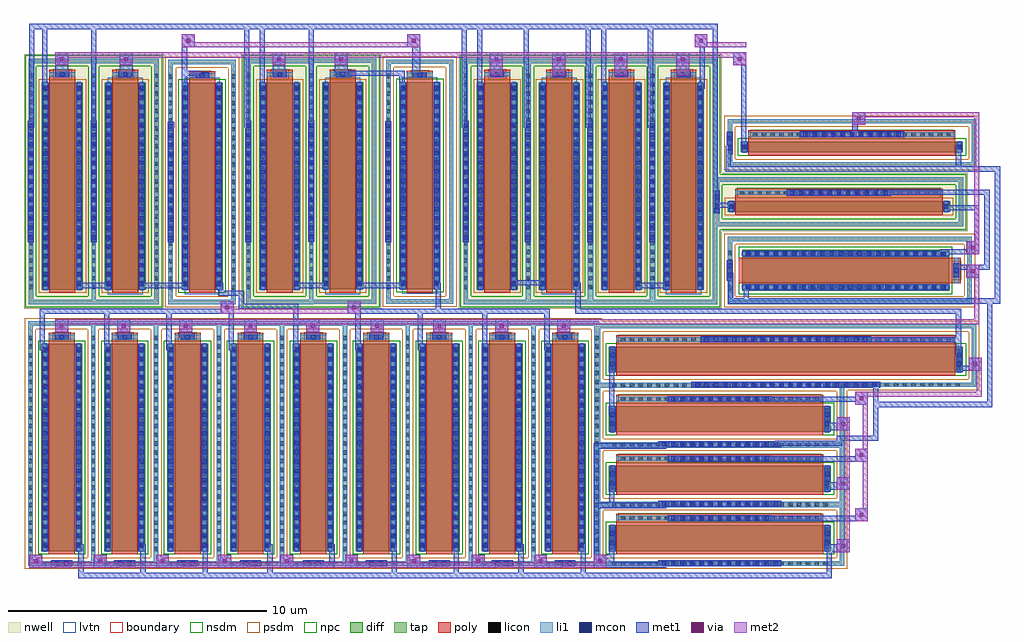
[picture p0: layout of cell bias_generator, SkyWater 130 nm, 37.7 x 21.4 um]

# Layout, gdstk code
from math import pi, radians
import gdstk
lib = gdstk.Library(unit=1e-6, precision=1e-09)
def R(c, l, rs):  # rectangles x0, y0, x1, y1
    for r in rs: c.add(gdstk.rectangle(r[:2], r[2:], *l))
def A(c, l, x, y, w, h, nx, ny, dx, dy):  # array of equal rectangles
    R(c, l, [(x+i*dx, y+j*dy, x+i*dx+w, y+j*dy+h) for i in range(nx) for j in range(ny)])
nwell = (64, 20)
diff = (65, 20)
tap = (65, 44)
poly = (66, 20)
licon = (66, 44)
li1 = (67, 20)
mcon = (67, 44)
met1 = (68, 20)
via = (68, 44)
met2 = (69, 20)
nsdm = (93, 44)
psdm = (94, 20)
npc = (95, 20)
lvtn = (125, 44)
boundary = (235, 4)

sky130_fd_pr__nfet_01v8_ = lib.new_cell('sky130_fd_pr__nfet_01v8_N4YVNS')
R(sky130_fd_pr__nfet_01v8_, diff, [(-4.29,-0.365,4.29,0.055)])
R(sky130_fd_pr__nfet_01v8_, tap, [(-4.8,-0.925,4.8,-0.755), (-4.8,-0.755,-4.63,0.755), (4.63,-0.755,4.8,0.755), (-4.8,0.755,4.8,0.925)])
R(sky130_fd_pr__nfet_01v8_, poly, [(-4,-0.495,4,0.495)])
A(sky130_fd_pr__nfet_01v8_, licon, -4.8, -0.425, 0.17, 0.17, 1, 3, 0, 0.34)
A(sky130_fd_pr__nfet_01v8_, licon, -3.825, 0.245, 0.17, 0.17, 23, 1, 0.34, 0)
R(sky130_fd_pr__nfet_01v8_, licon, [(-4.23,-0.24,-4.06,-0.07), (4.06,-0.24,4.23,-0.07)])
R(sky130_fd_pr__nfet_01v8_, li1, [(-4.8,-0.925,4.8,-0.755), (-4.8,-0.755,-4.63,0.755), (4.63,-0.755,4.8,0.755), (-4.23,-0.385,-4.06,0.075), (4.06,-0.385,4.23,0.075), (-4,0.245,4,0.415), (-4.8,0.755,4.8,0.925)])
A(sky130_fd_pr__nfet_01v8_, mcon, -1.885, 0.245, 0.17, 0.17, 11, 1, 0.36, 0)
R(sky130_fd_pr__nfet_01v8_, mcon, [(-4.8,-0.265,-4.63,-0.095), (-4.23,-0.24,-4.06,-0.07), (4.06,-0.24,4.23,-0.07), (-4.8,0.095,-4.63,0.265)])
R(sky130_fd_pr__nfet_01v8_, met1, [(-4.83,-0.44,-4.6,0.44), (-4.26,-0.365,-4.03,0.055), (4.03,-0.365,4.26,0.055), (-2.02,0.215,2.02,0.445)])
R(sky130_fd_pr__nfet_01v8_, nsdm, [(-4.415,-0.49,4.415,0.18)])
R(sky130_fd_pr__nfet_01v8_, psdm, [(-4.925,-1.05,4.925,-0.63), (-4.925,-0.63,-4.505,0.63), (4.505,-0.63,4.925,0.63), (-4.925,0.63,4.925,1.05)])
R(sky130_fd_pr__nfet_01v8_, npc, [(-3.925,0.145,3.925,0.515)])
R(sky130_fd_pr__nfet_01v8_, boundary, [(-4.715,-0.84,4.715,0.84)])

sky130_fd_pr__pfet_01v8_ = lib.new_cell('sky130_fd_pr__pfet_01v8_GQTHCS')
R(sky130_fd_pr__pfet_01v8_, nwell, [(-4.98,-1.13,4.98,1.13)])
R(sky130_fd_pr__pfet_01v8_, diff, [(-4.29,-0.39,4.29,0.03)])
R(sky130_fd_pr__pfet_01v8_, tap, [(-4.8,-0.95,4.8,-0.78), (-4.8,-0.78,-4.63,0.78), (4.63,-0.78,4.8,0.78), (-4.8,0.78,4.8,0.95)])
R(sky130_fd_pr__pfet_01v8_, poly, [(-4,-0.52,4,0.515)])
A(sky130_fd_pr__pfet_01v8_, licon, -4.8, -0.425, 0.17, 0.17, 1, 3, 0, 0.34)
A(sky130_fd_pr__pfet_01v8_, licon, -3.825, 0.265, 0.17, 0.17, 23, 1, 0.34, 0)
R(sky130_fd_pr__pfet_01v8_, licon, [(-4.23,-0.265,-4.06,-0.095), (4.06,-0.265,4.23,-0.095)])
R(sky130_fd_pr__pfet_01v8_, li1, [(-4.8,-0.95,4.8,-0.78), (-4.8,-0.78,-4.63,0.78), (4.63,-0.78,4.8,0.78), (-4.23,-0.41,-4.06,0.05), (4.06,-0.41,4.23,0.05), (-4,0.265,4,0.435), (-4.8,0.78,4.8,0.95)])
A(sky130_fd_pr__pfet_01v8_, mcon, -1.885, 0.265, 0.17, 0.17, 11, 1, 0.36, 0)
R(sky130_fd_pr__pfet_01v8_, mcon, [(-4.8,-0.265,-4.63,-0.095), (-4.23,-0.265,-4.06,-0.095), (4.06,-0.265,4.23,-0.095), (-4.8,0.095,-4.63,0.265)])
R(sky130_fd_pr__pfet_01v8_, met1, [(-4.83,-0.45,-4.6,0.45), (-4.26,-0.39,-4.03,0.03), (4.03,-0.39,4.26,0.03), (-2.02,0.235,2.02,0.465)])
R(sky130_fd_pr__pfet_01v8_, nsdm, [(-4.925,-1.075,4.925,-0.655), (-4.925,-0.655,-4.505,0.655), (4.505,-0.655,4.925,0.655), (-4.925,0.655,4.925,1.075)])
R(sky130_fd_pr__pfet_01v8_, psdm, [(-4.415,-0.515,4.415,0.155)])
R(sky130_fd_pr__pfet_01v8_, npc, [(-3.925,0.165,3.925,0.535)])
R(sky130_fd_pr__pfet_01v8_, boundary, [(-4.715,-0.865,4.715,0.865)])

c_sky130_fd_pr__pfet_01v8_ = lib.new_cell('sky130_fd_pr__pfet_01v8_lvt_LBMMZQ')
R(c_sky130_fd_pr__pfet_01v8_, nwell, [(-1.48,-4.92,1.48,4.92)])
R(c_sky130_fd_pr__pfet_01v8_, diff, [(-0.79,-4.18,0.79,3.82)])
R(c_sky130_fd_pr__pfet_01v8_, tap, [(-1.3,-4.74,1.3,-4.57), (-1.3,-4.57,-1.13,4.57), (1.13,-4.57,1.3,4.57), (-1.3,4.57,1.3,4.74)])
R(c_sky130_fd_pr__pfet_01v8_, poly, [(-0.5,-4.31,0.5,4.305)])
A(c_sky130_fd_pr__pfet_01v8_, licon, -1.3, -4.165, 0.17, 0.17, 1, 25, 0, 0.34)
A(c_sky130_fd_pr__pfet_01v8_, licon, -0.73, -4.005, 0.17, 0.17, 1, 23, 0, 0.34)
A(c_sky130_fd_pr__pfet_01v8_, licon, 0.56, -4.005, 0.17, 0.17, 1, 23, 0, 0.34)
R(c_sky130_fd_pr__pfet_01v8_, licon, [(-0.255,4.055,-0.085,4.225), (0.085,4.055,0.255,4.225)])
R(c_sky130_fd_pr__pfet_01v8_, li1, [(-1.3,-4.74,1.3,-4.57), (-1.3,-4.57,-1.13,4.57), (1.13,-4.57,1.3,4.57), (-0.73,-4.2,-0.56,3.84), (0.56,-4.2,0.73,3.84), (-0.5,4.055,0.5,4.225), (-1.3,4.57,1.3,4.74)])
A(c_sky130_fd_pr__pfet_01v8_, mcon, -0.73, -4.045, 0.17, 0.17, 1, 22, 0, 0.36)
A(c_sky130_fd_pr__pfet_01v8_, mcon, 0.56, -4.045, 0.17, 0.17, 1, 22, 0, 0.36)
A(c_sky130_fd_pr__pfet_01v8_, mcon, -1.3, -2.245, 0.17, 0.17, 1, 13, 0, 0.36)
R(c_sky130_fd_pr__pfet_01v8_, mcon, [(-0.085,4.055,0.085,4.225)])
R(c_sky130_fd_pr__pfet_01v8_, met1, [(-0.76,-4.18,-0.53,3.82), (0.53,-4.18,0.76,3.82), (-1.33,-2.345,-1.1,2.345), (-0.27,4.025,0.27,4.255)])
R(c_sky130_fd_pr__pfet_01v8_, nsdm, [(-1.425,-4.865,1.425,-4.445), (-1.425,-4.445,-1.005,4.445), (1.005,-4.445,1.425,4.445), (-1.425,4.445,1.425,4.865)])
R(c_sky130_fd_pr__pfet_01v8_, psdm, [(-0.915,-4.305,0.915,3.945)])
R(c_sky130_fd_pr__pfet_01v8_, npc, [(-0.355,3.955,0.355,4.325)])
R(c_sky130_fd_pr__pfet_01v8_, lvtn, [(-0.68,-4.36,0.68,4)])
R(c_sky130_fd_pr__pfet_01v8_, boundary, [(-1.215,-4.655,1.215,4.655)])

c_sky130_fd_pr__pfet_01v8__ = lib.new_cell('sky130_fd_pr__pfet_01v8_lvt_LHEPZQ')
R(c_sky130_fd_pr__pfet_01v8__, nwell, [(-1.48,-4.92,1.48,4.92)])
R(c_sky130_fd_pr__pfet_01v8__, diff, [(-0.79,-4.18,0.79,3.82)])
R(c_sky130_fd_pr__pfet_01v8__, tap, [(-1.3,-4.74,1.3,-4.57), (-1.3,-4.57,-1.13,4.57), (1.13,-4.57,1.3,4.57), (-1.3,4.57,1.3,4.74)])
R(c_sky130_fd_pr__pfet_01v8__, poly, [(-0.5,-4.31,0.5,4.305)])
A(c_sky130_fd_pr__pfet_01v8__, licon, -1.3, -4.165, 0.17, 0.17, 1, 25, 0, 0.34)
A(c_sky130_fd_pr__pfet_01v8__, licon, 1.13, -4.165, 0.17, 0.17, 1, 25, 0, 0.34)
A(c_sky130_fd_pr__pfet_01v8__, licon, -0.73, -4.005, 0.17, 0.17, 1, 23, 0, 0.34)
A(c_sky130_fd_pr__pfet_01v8__, licon, 0.56, -4.005, 0.17, 0.17, 1, 23, 0, 0.34)
R(c_sky130_fd_pr__pfet_01v8__, licon, [(-0.255,4.055,-0.085,4.225), (0.085,4.055,0.255,4.225)])
R(c_sky130_fd_pr__pfet_01v8__, li1, [(-1.3,-4.74,1.3,-4.57), (-1.3,-4.57,-1.13,4.57), (1.13,-4.57,1.3,4.57), (-0.73,-4.2,-0.56,3.84), (0.56,-4.2,0.73,3.84), (-0.5,4.055,0.5,4.225), (-1.3,4.57,1.3,4.74)])
A(c_sky130_fd_pr__pfet_01v8__, mcon, -0.73, -4.045, 0.17, 0.17, 1, 22, 0, 0.36)
A(c_sky130_fd_pr__pfet_01v8__, mcon, 0.56, -4.045, 0.17, 0.17, 1, 22, 0, 0.36)
A(c_sky130_fd_pr__pfet_01v8__, mcon, -1.3, -2.245, 0.17, 0.17, 1, 13, 0, 0.36)
R(c_sky130_fd_pr__pfet_01v8__, mcon, [(-0.085,4.055,0.085,4.225)])
R(c_sky130_fd_pr__pfet_01v8__, met1, [(-0.76,-4.18,-0.53,3.82), (0.53,-4.18,0.76,3.82), (-1.33,-2.345,-1.1,2.345), (-0.27,4.025,0.27,4.255)])
R(c_sky130_fd_pr__pfet_01v8__, nsdm, [(-1.425,-4.865,1.425,-4.445), (-1.425,-4.445,-1.005,4.445), (1.005,-4.445,1.425,4.445), (-1.425,4.445,1.425,4.865)])
R(c_sky130_fd_pr__pfet_01v8__, psdm, [(-0.915,-4.305,0.915,3.945)])
R(c_sky130_fd_pr__pfet_01v8__, npc, [(-0.355,3.955,0.355,4.325)])
R(c_sky130_fd_pr__pfet_01v8__, lvtn, [(-0.68,-4.36,0.68,4)])
R(c_sky130_fd_pr__pfet_01v8__, boundary, [(-1.215,-4.655,1.215,4.655)])

c_sky130_fd_pr__nfet_01v8_ = lib.new_cell('sky130_fd_pr__nfet_01v8_lvt_X6KF3T')
R(c_sky130_fd_pr__nfet_01v8_, diff, [(-0.79,-4.155,0.79,3.845)])
R(c_sky130_fd_pr__nfet_01v8_, tap, [(-1.3,-4.715,1.3,-4.545), (-1.3,-4.545,-1.13,4.545), (1.13,-4.545,1.3,4.545), (-1.3,4.545,1.3,4.715)])
R(c_sky130_fd_pr__nfet_01v8_, poly, [(-0.5,-4.285,0.5,4.285)])
A(c_sky130_fd_pr__nfet_01v8_, licon, -1.3, -4.165, 0.17, 0.17, 1, 25, 0, 0.34)
A(c_sky130_fd_pr__nfet_01v8_, licon, -0.73, -3.98, 0.17, 0.17, 1, 23, 0, 0.34)
A(c_sky130_fd_pr__nfet_01v8_, licon, 0.56, -3.98, 0.17, 0.17, 1, 23, 0, 0.34)
R(c_sky130_fd_pr__nfet_01v8_, licon, [(-0.255,4.035,-0.085,4.205), (0.085,4.035,0.255,4.205)])
R(c_sky130_fd_pr__nfet_01v8_, li1, [(-1.3,-4.715,1.3,-4.545), (-1.3,-4.545,-1.13,4.545), (1.13,-4.545,1.3,4.545), (-0.73,-4.175,-0.56,3.865), (0.56,-4.175,0.73,3.865), (-0.5,4.035,0.5,4.205), (-1.3,4.545,1.3,4.715)])
A(c_sky130_fd_pr__nfet_01v8_, mcon, -0.73, -4.02, 0.17, 0.17, 1, 22, 0, 0.36)
A(c_sky130_fd_pr__nfet_01v8_, mcon, 0.56, -4.02, 0.17, 0.17, 1, 22, 0, 0.36)
A(c_sky130_fd_pr__nfet_01v8_, mcon, -1.3, -2.245, 0.17, 0.17, 1, 13, 0, 0.36)
R(c_sky130_fd_pr__nfet_01v8_, mcon, [(-0.085,4.035,0.085,4.205)])
R(c_sky130_fd_pr__nfet_01v8_, met1, [(-0.76,-4.155,-0.53,3.845), (0.53,-4.155,0.76,3.845), (-1.33,-2.335,-1.1,2.335), (-0.27,4.005,0.27,4.235)])
R(c_sky130_fd_pr__nfet_01v8_, nsdm, [(-0.915,-4.28,0.915,3.97)])
R(c_sky130_fd_pr__nfet_01v8_, psdm, [(-1.425,-4.84,1.425,-4.42), (-1.425,-4.42,-1.005,4.42), (1.005,-4.42,1.425,4.42), (-1.425,4.42,1.425,4.84)])
R(c_sky130_fd_pr__nfet_01v8_, npc, [(-0.355,3.935,0.355,4.305)])
R(c_sky130_fd_pr__nfet_01v8_, lvtn, [(-0.68,-4.335,0.68,4.025)])
R(c_sky130_fd_pr__nfet_01v8_, boundary, [(-1.215,-4.63,1.215,4.63)])

c_sky130_fd_pr__nfet_01v8__ = lib.new_cell('sky130_fd_pr__nfet_01v8_lvt_XLZA2Q')
R(c_sky130_fd_pr__nfet_01v8__, diff, [(-0.79,-4.155,0.79,3.845)])
R(c_sky130_fd_pr__nfet_01v8__, tap, [(-1.3,-4.715,1.3,-4.545), (-1.3,-4.545,-1.13,4.545), (1.13,-4.545,1.3,4.545), (-1.3,4.545,1.3,4.715)])
R(c_sky130_fd_pr__nfet_01v8__, poly, [(-0.5,-4.285,0.5,4.285)])
A(c_sky130_fd_pr__nfet_01v8__, licon, -1.3, -4.165, 0.17, 0.17, 1, 25, 0, 0.34)
A(c_sky130_fd_pr__nfet_01v8__, licon, 1.13, -4.165, 0.17, 0.17, 1, 25, 0, 0.34)
A(c_sky130_fd_pr__nfet_01v8__, licon, -0.73, -3.98, 0.17, 0.17, 1, 23, 0, 0.34)
A(c_sky130_fd_pr__nfet_01v8__, licon, 0.56, -3.98, 0.17, 0.17, 1, 23, 0, 0.34)
R(c_sky130_fd_pr__nfet_01v8__, licon, [(-0.255,4.035,-0.085,4.205), (0.085,4.035,0.255,4.205)])
R(c_sky130_fd_pr__nfet_01v8__, li1, [(-1.3,-4.715,1.3,-4.545), (-1.3,-4.545,-1.13,4.545), (1.13,-4.545,1.3,4.545), (-0.73,-4.175,-0.56,3.865), (0.56,-4.175,0.73,3.865), (-0.5,4.035,0.5,4.205), (-1.3,4.545,1.3,4.715)])
A(c_sky130_fd_pr__nfet_01v8__, mcon, -0.73, -4.02, 0.17, 0.17, 1, 22, 0, 0.36)
A(c_sky130_fd_pr__nfet_01v8__, mcon, 0.56, -4.02, 0.17, 0.17, 1, 22, 0, 0.36)
A(c_sky130_fd_pr__nfet_01v8__, mcon, -1.3, -2.245, 0.17, 0.17, 1, 13, 0, 0.36)
R(c_sky130_fd_pr__nfet_01v8__, mcon, [(-0.085,4.035,0.085,4.205)])
R(c_sky130_fd_pr__nfet_01v8__, met1, [(-0.76,-4.155,-0.53,3.845), (0.53,-4.155,0.76,3.845), (-1.33,-2.335,-1.1,2.335), (-0.27,4.005,0.27,4.235)])
R(c_sky130_fd_pr__nfet_01v8__, nsdm, [(-0.915,-4.28,0.915,3.97)])
R(c_sky130_fd_pr__nfet_01v8__, psdm, [(-1.425,-4.84,1.425,-4.42), (-1.425,-4.42,-1.005,4.42), (1.005,-4.42,1.425,4.42), (-1.425,4.42,1.425,4.84)])
R(c_sky130_fd_pr__nfet_01v8__, npc, [(-0.355,3.935,0.355,4.305)])
R(c_sky130_fd_pr__nfet_01v8__, lvtn, [(-0.68,-4.335,0.68,4.025)])
R(c_sky130_fd_pr__nfet_01v8__, boundary, [(-1.215,-4.63,1.215,4.63)])

c_sky130_fd_pr__nfet_01v8___ = lib.new_cell('sky130_fd_pr__nfet_01v8_EE6UX6')
R(c_sky130_fd_pr__nfet_01v8___, diff, [(-4.29,-0.655,4.29,0.345)])
R(c_sky130_fd_pr__nfet_01v8___, tap, [(-4.8,-1.215,4.8,-1.045), (-4.8,-1.045,-4.63,1.045), (4.63,-1.045,4.8,1.045), (-4.8,1.045,4.8,1.215)])
R(c_sky130_fd_pr__nfet_01v8___, poly, [(-4,-0.785,4,0.785)])
A(c_sky130_fd_pr__nfet_01v8___, licon, -4.165, -1.215, 0.17, 0.17, 25, 1, 0.34, 0)
A(c_sky130_fd_pr__nfet_01v8___, licon, -4.23, -0.58, 0.17, 0.17, 1, 3, 0, 0.34)
A(c_sky130_fd_pr__nfet_01v8___, licon, 4.06, -0.58, 0.17, 0.17, 1, 3, 0, 0.34)
A(c_sky130_fd_pr__nfet_01v8___, licon, -3.825, 0.535, 0.17, 0.17, 23, 1, 0.34, 0)
R(c_sky130_fd_pr__nfet_01v8___, li1, [(-4.8,-1.215,4.8,-1.045), (-4.8,-1.045,-4.63,1.045), (4.63,-1.045,4.8,1.045), (-4.23,-0.675,-4.06,0.365), (4.06,-0.675,4.23,0.365), (-4,0.535,4,0.705), (-4.8,1.045,4.8,1.215)])
A(c_sky130_fd_pr__nfet_01v8___, mcon, -2.245, -1.215, 0.17, 0.17, 13, 1, 0.36, 0)
A(c_sky130_fd_pr__nfet_01v8___, mcon, -1.885, 0.535, 0.17, 0.17, 11, 1, 0.36, 0)
R(c_sky130_fd_pr__nfet_01v8___, mcon, [(-4.23,-0.42,-4.06,-0.25), (4.06,-0.42,4.23,-0.25), (-4.23,-0.06,-4.06,0.11), (4.06,-0.06,4.23,0.11)])
R(c_sky130_fd_pr__nfet_01v8___, met1, [(-2.375,-1.245,2.375,-1.015), (-4.26,-0.655,-4.03,0.345), (4.03,-0.655,4.26,0.345), (-2.02,0.505,2.02,0.735)])
R(c_sky130_fd_pr__nfet_01v8___, nsdm, [(-4.415,-0.78,4.415,0.47)])
R(c_sky130_fd_pr__nfet_01v8___, psdm, [(-4.925,-1.34,4.925,-0.92), (-4.925,-0.92,-4.505,0.92), (4.505,-0.92,4.925,0.92), (-4.925,0.92,4.925,1.34)])
R(c_sky130_fd_pr__nfet_01v8___, npc, [(-3.925,0.435,3.925,0.805)])
R(c_sky130_fd_pr__nfet_01v8___, boundary, [(-4.715,-1.13,4.715,1.13)])

c_sky130_fd_pr__nfet_01v8____ = lib.new_cell('sky130_fd_pr__nfet_01v8_798YF4')
R(c_sky130_fd_pr__nfet_01v8____, diff, [(-6.84,-0.655,6.84,0.345)])
R(c_sky130_fd_pr__nfet_01v8____, tap, [(-7.35,-1.215,7.35,-1.045), (-7.35,-1.045,-7.18,1.045), (7.18,-1.045,7.35,1.045), (-7.35,1.045,7.35,1.215)])
R(c_sky130_fd_pr__nfet_01v8____, poly, [(-6.55,-0.785,6.55,0.785)])
A(c_sky130_fd_pr__nfet_01v8____, licon, -6.715, -1.215, 0.17, 0.17, 40, 1, 0.34, 0)
A(c_sky130_fd_pr__nfet_01v8____, licon, -6.78, -0.58, 0.17, 0.17, 1, 3, 0, 0.34)
A(c_sky130_fd_pr__nfet_01v8____, licon, 6.61, -0.58, 0.17, 0.17, 1, 3, 0, 0.34)
A(c_sky130_fd_pr__nfet_01v8____, licon, -6.375, 0.535, 0.17, 0.17, 38, 1, 0.34, 0)
R(c_sky130_fd_pr__nfet_01v8____, li1, [(-7.35,-1.215,7.35,-1.045), (-7.35,-1.045,-7.18,1.045), (7.18,-1.045,7.35,1.045), (-6.78,-0.675,-6.61,0.365), (6.61,-0.675,6.78,0.365), (-6.55,0.535,6.55,0.705), (-7.35,1.045,7.35,1.215)])
A(c_sky130_fd_pr__nfet_01v8____, mcon, -3.505, -1.215, 0.17, 0.17, 20, 1, 0.36, 0)
A(c_sky130_fd_pr__nfet_01v8____, mcon, -3.145, 0.535, 0.17, 0.17, 18, 1, 0.36, 0)
R(c_sky130_fd_pr__nfet_01v8____, mcon, [(-6.78,-0.42,-6.61,-0.25), (6.61,-0.42,6.78,-0.25), (-6.78,-0.06,-6.61,0.11), (6.61,-0.06,6.78,0.11)])
R(c_sky130_fd_pr__nfet_01v8____, met1, [(-3.65,-1.245,3.65,-1.015), (-6.81,-0.655,-6.58,0.345), (6.58,-0.655,6.81,0.345), (-3.295,0.505,3.295,0.735)])
R(c_sky130_fd_pr__nfet_01v8____, nsdm, [(-6.965,-0.78,6.965,0.47)])
R(c_sky130_fd_pr__nfet_01v8____, psdm, [(-7.475,-1.34,7.475,-0.92), (-7.475,-0.92,-7.055,0.92), (7.055,-0.92,7.475,0.92), (-7.475,0.92,7.475,1.34)])
R(c_sky130_fd_pr__nfet_01v8____, npc, [(-6.475,0.435,6.475,0.805)])
R(c_sky130_fd_pr__nfet_01v8____, boundary, [(-7.265,-1.13,7.265,1.13)])

c_sky130_fd_pr__pfet_01v8___ = lib.new_cell('sky130_fd_pr__pfet_01v8_L7EPZQ')
R(c_sky130_fd_pr__pfet_01v8___, nwell, [(-1.48,-4.92,1.48,4.92)])
R(c_sky130_fd_pr__pfet_01v8___, diff, [(-0.79,-4.18,0.79,3.82)])
R(c_sky130_fd_pr__pfet_01v8___, tap, [(-1.3,-4.74,1.3,-4.57), (-1.3,-4.57,-1.13,4.57), (1.13,-4.57,1.3,4.57), (-1.3,4.57,1.3,4.74)])
R(c_sky130_fd_pr__pfet_01v8___, poly, [(-0.5,-4.31,0.5,4.305)])
A(c_sky130_fd_pr__pfet_01v8___, licon, -1.3, -4.165, 0.17, 0.17, 1, 25, 0, 0.34)
A(c_sky130_fd_pr__pfet_01v8___, licon, -0.73, -4.005, 0.17, 0.17, 1, 23, 0, 0.34)
A(c_sky130_fd_pr__pfet_01v8___, licon, 0.56, -4.005, 0.17, 0.17, 1, 23, 0, 0.34)
R(c_sky130_fd_pr__pfet_01v8___, licon, [(-0.255,4.055,-0.085,4.225), (0.085,4.055,0.255,4.225)])
R(c_sky130_fd_pr__pfet_01v8___, li1, [(-1.3,-4.74,1.3,-4.57), (-1.3,-4.57,-1.13,4.57), (1.13,-4.57,1.3,4.57), (-0.73,-4.2,-0.56,3.84), (0.56,-4.2,0.73,3.84), (-0.5,4.055,0.5,4.225), (-1.3,4.57,1.3,4.74)])
A(c_sky130_fd_pr__pfet_01v8___, mcon, -0.73, -4.045, 0.17, 0.17, 1, 22, 0, 0.36)
A(c_sky130_fd_pr__pfet_01v8___, mcon, 0.56, -4.045, 0.17, 0.17, 1, 22, 0, 0.36)
A(c_sky130_fd_pr__pfet_01v8___, mcon, -1.3, -2.245, 0.17, 0.17, 1, 13, 0, 0.36)
R(c_sky130_fd_pr__pfet_01v8___, mcon, [(-0.085,4.055,0.085,4.225)])
R(c_sky130_fd_pr__pfet_01v8___, met1, [(-0.76,-4.18,-0.53,3.82), (0.53,-4.18,0.76,3.82), (-1.33,-2.345,-1.1,2.345), (-0.27,4.025,0.27,4.255)])
R(c_sky130_fd_pr__pfet_01v8___, nsdm, [(-1.425,-4.865,1.425,-4.445), (-1.425,-4.445,-1.005,4.445), (1.005,-4.445,1.425,4.445), (-1.425,4.445,1.425,4.865)])
R(c_sky130_fd_pr__pfet_01v8___, psdm, [(-0.915,-4.305,0.915,3.945)])
R(c_sky130_fd_pr__pfet_01v8___, npc, [(-0.355,3.955,0.355,4.325)])
R(c_sky130_fd_pr__pfet_01v8___, boundary, [(-1.215,-4.655,1.215,4.655)])

c_sky130_fd_pr__pfet_01v8____ = lib.new_cell('sky130_fd_pr__pfet_01v8_BMAEVH')
R(c_sky130_fd_pr__pfet_01v8____, nwell, [(-1.48,-4.92,1.48,4.92)])
R(c_sky130_fd_pr__pfet_01v8____, diff, [(-0.79,-4.18,0.79,3.82)])
R(c_sky130_fd_pr__pfet_01v8____, tap, [(-1.3,-4.74,1.3,-4.57), (-1.3,-4.57,-1.13,4.57), (1.13,-4.57,1.3,4.57), (-1.3,4.57,1.3,4.74)])
R(c_sky130_fd_pr__pfet_01v8____, poly, [(-0.5,-4.31,0.5,4.305)])
A(c_sky130_fd_pr__pfet_01v8____, licon, -1.3, -4.165, 0.17, 0.17, 1, 25, 0, 0.34)
A(c_sky130_fd_pr__pfet_01v8____, licon, 1.13, -4.165, 0.17, 0.17, 1, 25, 0, 0.34)
A(c_sky130_fd_pr__pfet_01v8____, licon, -0.73, -4.005, 0.17, 0.17, 1, 23, 0, 0.34)
A(c_sky130_fd_pr__pfet_01v8____, licon, 0.56, -4.005, 0.17, 0.17, 1, 23, 0, 0.34)
R(c_sky130_fd_pr__pfet_01v8____, licon, [(-0.255,4.055,-0.085,4.225), (0.085,4.055,0.255,4.225)])
R(c_sky130_fd_pr__pfet_01v8____, li1, [(-1.3,-4.74,1.3,-4.57), (-1.3,-4.57,-1.13,4.57), (1.13,-4.57,1.3,4.57), (-0.73,-4.2,-0.56,3.84), (0.56,-4.2,0.73,3.84), (-0.5,4.055,0.5,4.225), (-1.3,4.57,1.3,4.74)])
A(c_sky130_fd_pr__pfet_01v8____, mcon, -0.73, -4.045, 0.17, 0.17, 1, 22, 0, 0.36)
A(c_sky130_fd_pr__pfet_01v8____, mcon, 0.56, -4.045, 0.17, 0.17, 1, 22, 0, 0.36)
A(c_sky130_fd_pr__pfet_01v8____, mcon, -1.3, -2.245, 0.17, 0.17, 1, 13, 0, 0.36)
R(c_sky130_fd_pr__pfet_01v8____, mcon, [(-0.085,4.055,0.085,4.225)])
R(c_sky130_fd_pr__pfet_01v8____, met1, [(-0.76,-4.18,-0.53,3.82), (0.53,-4.18,0.76,3.82), (-1.33,-2.345,-1.1,2.345), (-0.27,4.025,0.27,4.255)])
R(c_sky130_fd_pr__pfet_01v8____, nsdm, [(-1.425,-4.865,1.425,-4.445), (-1.425,-4.445,-1.005,4.445), (1.005,-4.445,1.425,4.445), (-1.425,4.445,1.425,4.865)])
R(c_sky130_fd_pr__pfet_01v8____, psdm, [(-0.915,-4.305,0.915,3.945)])
R(c_sky130_fd_pr__pfet_01v8____, npc, [(-0.355,3.955,0.355,4.325)])
R(c_sky130_fd_pr__pfet_01v8____, boundary, [(-1.215,-4.655,1.215,4.655)])

c_sky130_fd_pr__nfet_01v8_____ = lib.new_cell('sky130_fd_pr__nfet_01v8_QGAK58')
R(c_sky130_fd_pr__nfet_01v8_____, diff, [(-0.79,-4.155,0.79,3.845)])
R(c_sky130_fd_pr__nfet_01v8_____, tap, [(-1.3,-4.715,1.3,-4.545), (-1.3,-4.545,-1.13,4.545), (1.13,-4.545,1.3,4.545), (-1.3,4.545,1.3,4.715)])
R(c_sky130_fd_pr__nfet_01v8_____, poly, [(-0.5,-4.285,0.5,4.285)])
A(c_sky130_fd_pr__nfet_01v8_____, licon, -0.765, -4.715, 0.17, 0.17, 5, 1, 0.34, 0)
A(c_sky130_fd_pr__nfet_01v8_____, licon, -0.73, -3.98, 0.17, 0.17, 1, 23, 0, 0.34)
A(c_sky130_fd_pr__nfet_01v8_____, licon, 0.56, -3.98, 0.17, 0.17, 1, 23, 0, 0.34)
R(c_sky130_fd_pr__nfet_01v8_____, licon, [(-0.255,4.035,-0.085,4.205), (0.085,4.035,0.255,4.205)])
R(c_sky130_fd_pr__nfet_01v8_____, li1, [(-1.3,-4.715,1.3,-4.545), (-1.3,-4.545,-1.13,4.545), (1.13,-4.545,1.3,4.545), (-0.73,-4.175,-0.56,3.865), (0.56,-4.175,0.73,3.865), (-0.5,4.035,0.5,4.205), (-1.3,4.545,1.3,4.715)])
A(c_sky130_fd_pr__nfet_01v8_____, mcon, -0.73, -4.02, 0.17, 0.17, 1, 22, 0, 0.36)
A(c_sky130_fd_pr__nfet_01v8_____, mcon, 0.56, -4.02, 0.17, 0.17, 1, 22, 0, 0.36)
R(c_sky130_fd_pr__nfet_01v8_____, mcon, [(-0.265,-4.715,-0.095,-4.545), (0.095,-4.715,0.265,-4.545), (-0.085,4.035,0.085,4.205)])
R(c_sky130_fd_pr__nfet_01v8_____, met1, [(-0.4,-4.745,0.4,-4.515), (-0.76,-4.155,-0.53,3.845), (0.53,-4.155,0.76,3.845), (-0.27,4.005,0.27,4.235)])
R(c_sky130_fd_pr__nfet_01v8_____, nsdm, [(-0.915,-4.28,0.915,3.97)])
R(c_sky130_fd_pr__nfet_01v8_____, psdm, [(-1.425,-4.84,1.425,-4.42), (-1.425,-4.42,-1.005,4.42), (1.005,-4.42,1.425,4.42), (-1.425,4.42,1.425,4.84)])
R(c_sky130_fd_pr__nfet_01v8_____, npc, [(-0.355,3.935,0.355,4.305)])
R(c_sky130_fd_pr__nfet_01v8_____, boundary, [(-1.215,-4.63,1.215,4.63)])

c_sky130_fd_pr__nfet_01v8______ = lib.new_cell('sky130_fd_pr__nfet_01v8_92UKLN')
R(c_sky130_fd_pr__nfet_01v8______, diff, [(-0.79,-4.155,0.79,3.845)])
R(c_sky130_fd_pr__nfet_01v8______, tap, [(-1.3,-4.715,1.3,-4.545), (-1.3,-4.545,-1.13,4.545), (1.13,-4.545,1.3,4.545), (-1.3,4.545,1.3,4.715)])
R(c_sky130_fd_pr__nfet_01v8______, poly, [(-0.5,-4.285,0.5,4.285)])
A(c_sky130_fd_pr__nfet_01v8______, licon, -0.765, -4.715, 0.17, 0.17, 5, 1, 0.34, 0)
A(c_sky130_fd_pr__nfet_01v8______, licon, -1.3, -4.165, 0.17, 0.17, 1, 25, 0, 0.34)
A(c_sky130_fd_pr__nfet_01v8______, licon, 1.13, -4.165, 0.17, 0.17, 1, 25, 0, 0.34)
A(c_sky130_fd_pr__nfet_01v8______, licon, -0.73, -3.98, 0.17, 0.17, 1, 23, 0, 0.34)
A(c_sky130_fd_pr__nfet_01v8______, licon, 0.56, -3.98, 0.17, 0.17, 1, 23, 0, 0.34)
R(c_sky130_fd_pr__nfet_01v8______, licon, [(-0.255,4.035,-0.085,4.205), (0.085,4.035,0.255,4.205)])
R(c_sky130_fd_pr__nfet_01v8______, li1, [(-1.3,-4.715,1.3,-4.545), (-1.3,-4.545,-1.13,4.545), (1.13,-4.545,1.3,4.545), (-0.73,-4.175,-0.56,3.865), (0.56,-4.175,0.73,3.865), (-0.5,4.035,0.5,4.205), (-1.3,4.545,1.3,4.715)])
A(c_sky130_fd_pr__nfet_01v8______, mcon, -0.73, -4.02, 0.17, 0.17, 1, 22, 0, 0.36)
A(c_sky130_fd_pr__nfet_01v8______, mcon, 0.56, -4.02, 0.17, 0.17, 1, 22, 0, 0.36)
R(c_sky130_fd_pr__nfet_01v8______, mcon, [(-0.265,-4.715,-0.095,-4.545), (0.095,-4.715,0.265,-4.545), (-0.085,4.035,0.085,4.205)])
R(c_sky130_fd_pr__nfet_01v8______, met1, [(-0.4,-4.745,0.4,-4.515), (-0.76,-4.155,-0.53,3.845), (0.53,-4.155,0.76,3.845), (-0.27,4.005,0.27,4.235)])
R(c_sky130_fd_pr__nfet_01v8______, nsdm, [(-0.915,-4.28,0.915,3.97)])
R(c_sky130_fd_pr__nfet_01v8______, psdm, [(-1.425,-4.84,1.425,-4.42), (-1.425,-4.42,-1.005,4.42), (1.005,-4.42,1.425,4.42), (-1.425,4.42,1.425,4.84)])
R(c_sky130_fd_pr__nfet_01v8______, npc, [(-0.355,3.935,0.355,4.305)])
R(c_sky130_fd_pr__nfet_01v8______, boundary, [(-1.215,-4.63,1.215,4.63)])

bias_generator = lib.new_cell('bias_generator')
A(bias_generator, met1, 17.9, 12, 0.2, 1.1, 3, 1, 2.4, 0)
A(bias_generator, met1, 37.8, 12.2, 2.8, 0.2, 1, 3, 0, 2.3)
A(bias_generator, met1, 18.5, 12.4, 0.5, 0.3, 4, 1, 2.4, 0)
A(bias_generator, met1, 44.4, 14, 4, 0.2, 1, 3, 0, 2.3)
A(bias_generator, met1, 18.9, 20.6, 0.2, 1.4, 3, 1, 2.4, 0)
A(bias_generator, met1, 17, 21.1, 0.5, 0.7, 3, 1, 2.4, 0)
A(bias_generator, met1, 29.2, 21.1, 0.5, 0.7, 4, 1, 2.4, 0)
A(bias_generator, met1, 32.7, 29.2, 0.2, 3.8, 4, 1, 2.4, 0)
A(bias_generator, met1, 16.5, 30.6, 0.2, 2.4, 3, 1, 8.4, 0)
A(bias_generator, met1, 33.8, 31.2, 0.5, 0.9, 4, 1, 2.4, 0)
R(bias_generator, met1, [(17.9,11.8,47,12), (25.2,12,25.4,13.1), (30,12,30.2,13.1), (32.4,12,32.6,13.1), (34.9,12,35.1,13.1), (37.3,12,37.5,13.1), (46.8,12,47,12.8), (16,12.2,17,12.4), (18.5,12.2,19.5,12.4), (20.9,12.2,21.9,12.4), (23.3,12.2,24.4,12.4), (25.7,12.2,27.8,12.4), (28.2,12.2,29.2,12.4), (30.6,12.2,31.6,12.4), (33.1,12.2,34.1,12.4), (35.5,12.2,36.6,12.4), (16,12.4,16.5,12.7), (27.6,12.4,27.8,13.1), (28.2,12.4,28.7,12.7), (30.6,12.4,31.1,12.7), (33.1,12.4,33.6,12.7), (35.5,12.4,36,12.7), (37.8,12.4,38.6,12.7), (37.8,12.7,38,14.5), (38.4,12.7,38.6,13.2), (46.8,12.8,47.7,13.1), (47.2,13.1,47.7,13.3), (47.9,14.2,48.4,14.5), (37.8,14.7,38,16.8), (38.4,14.7,38.6,15.5), (46.8,15.2,47.7,15.5), (47.2,15.5,47.7,15.7), (47.9,16.5,48.4,16.8), (44.8,16.9,47.4,17.1), (47.2,17.1,48.8,17.3), (48.6,17.3,48.8,18.4), (46.8,17.5,47.7,17.8), (47.2,17.8,47.7,18), (38.4,18.1,38.6,20), (48.6,18.4,53.2,18.6), (47.9,18.5,48.4,18.6), (48.6,18.6,48.8,19.3), (53,18.6,53.2,22.4), (47.9,18.8,48.4,19), (51.9,19.8,52.8,20), (52.3,20,52.8,20.3), (51.8,20.4,52,20.9), (16.4,20.6,16.6,22), (26.2,20.6,26.4,21.6), (28.6,20.6,28.8,22), (31,20.6,31.2,22), (33.5,20.6,33.7,22), (35.9,20.6,36.1,22), (48.2,20.9,52,21.1), (24.3,21.1,24.8,21.8), (26.7,21.1,27.2,21.6), (51.8,21.1,52,22), (26.2,21.6,27.2,21.8), (26.2,21.8,26.4,22.2), (16.4,22,23.9,22.2), (28.3,22,36.1,22.2), (37.1,22,52,22.2), (23.4,22.2,23.9,22.5), (24.1,22.2,26.4,22.4), (28.3,22.2,28.8,22.5), (31.7,22.2,31.9,23.2), (37.1,22.2,37.3,23.2), (24.1,22.4,24.3,22.7), (43,22.4,53.5,22.6), (43,22.6,43.2,23.6), (43.6,22.6,43.8,23.1), (53.3,22.6,53.5,27.5), (23.3,22.7,24.3,22.9), (23.3,22.9,23.5,23.2), (17.9,23,19.1,23.2), (20.3,23,22.1,23.2), (26.3,23,27.5,23.2), (28.7,23,30.5,23.2), (39.5,23,40.7,23.2), (34.7,23.1,35.9,23.3), (52.2,23.4,52.7,23.7), (51.7,23.7,53.1,23.9), (52.9,23.9,53.1,26.6), (51.2,24.3,52.7,24.5), (52.2,24.5,52.7,24.8), (52.5,24.8,52.7,26), (51.3,26,52.7,26.2), (42.4,26.1,43.2,26.3), (42.4,26.3,42.6,33), (49,26.6,53.1,26.8), (42.9,27.5,53.5,27.7), (42.9,27.7,43.1,28.5), (51.8,27.7,52,28.5), (43.5,28.4,43.7,31.6), (47.8,28.9,48,29.3), (16,29.2,16.2,33), (18.4,29.2,18.6,33), (21.4,29.2,21.6,29.4), (24.3,29.2,24.5,33), (26.8,29.2,27,33), (29.8,29.2,29.9,29.4), (47.8,29.3,48.3,29.8), (38.1,30.6,38.3,33), (21.9,30.7,22.1,31.2), (30.3,30.7,30.5,31.2), (41.9,30.7,42.1,32.3), (17,31.2,17.5,32.1), (19.5,31.2,20,32.1), (21.9,31.2,22.6,31.4), (25.4,31.2,25.9,32.1), (27.8,31.2,30.5,31.4), (30.8,31.2,31.1,32.3), (21.9,31.4,22.1,32.3), (27.8,31.4,28.3,32.1), (43.2,31.6,43.7,32.1), (21.9,32.3,22.4,32.8), (30.6,32.3,31.1,32.8), (41.7,32.3,42.2,32.8), (16,33,42.6,33.2)])
A(bias_generator, via, 18.675, 12.375, 0.15, 0.15, 4, 1, 2.4, 0)
A(bias_generator, via, 17.175, 21.475, 0.15, 0.15, 3, 1, 2.4, 0)
A(bias_generator, via, 29.375, 21.475, 0.15, 0.15, 4, 1, 2.4, 0)
A(bias_generator, via, 33.975, 31.775, 0.15, 0.15, 4, 1, 2.4, 0)
R(bias_generator, via, [(16.175,12.375,16.325,12.525), (28.375,12.375,28.525,12.525), (30.775,12.375,30.925,12.525), (33.275,12.375,33.425,12.525), (35.675,12.375,35.825,12.525), (37.975,12.375,38.125,12.525), (47.375,12.975,47.525,13.125), (48.075,14.175,48.225,14.325), (47.375,15.375,47.525,15.525), (48.075,16.475,48.225,16.625), (47.375,17.675,47.525,17.825), (48.075,18.675,48.225,18.825), (52.475,19.975,52.625,20.125), (24.475,21.475,24.625,21.625), (26.875,21.475,27.025,21.625), (23.575,22.175,23.725,22.325), (28.475,22.175,28.625,22.325), (52.375,23.575,52.525,23.725), (52.375,24.475,52.525,24.625), (47.975,29.475,48.125,29.625), (17.175,31.775,17.325,31.925), (19.675,31.775,19.825,31.925), (25.575,31.775,25.725,31.925), (27.975,31.775,28.125,31.925), (43.375,31.775,43.525,31.925), (22.075,32.475,22.225,32.625), (30.775,32.475,30.925,32.625), (41.875,32.475,42.025,32.625)])
A(bias_generator, met2, 18.5, 12.4, 0.5, 0.3, 4, 1, 2.4, 0)
A(bias_generator, met2, 17, 21.3, 0.5, 0.3, 3, 1, 2.4, 0)
A(bias_generator, met2, 29.2, 21.3, 0.5, 0.3, 4, 1, 2.4, 0)
A(bias_generator, met2, 33.8, 31.2, 0.5, 0.7, 4, 1, 2.4, 0)
R(bias_generator, met2, [(16,12.2,38.3,12.4), (16,12.4,16.5,12.7), (28.2,12.4,28.7,12.7), (30.6,12.4,31.1,12.7), (33.1,12.4,33.6,12.7), (35.5,12.4,36,12.7), (37.8,12.4,38.3,12.7), (47.2,12.8,47.7,13.3), (47.5,13.3,47.7,15.2), (47.9,14,48.4,14.5), (48.2,14.5,48.4,16.3), (47.2,15.2,47.7,15.7), (47.5,15.7,47.7,17.5), (47.9,16.3,48.4,16.8), (48.2,16.8,48.4,18.5), (47.2,17.5,47.7,18), (47.9,18.5,48.4,18.8), (47.9,18.8,52.8,19), (52.6,19,52.8,19.8), (52.3,19.8,52.8,20.3), (24.3,21.3,24.8,21.6), (26.7,21.3,27.2,21.6), (17,21.6,52.7,21.8), (52.5,21.8,52.7,23.4), (23.4,22,28.8,22.2), (23.4,22.2,23.9,22.5), (28.3,22.2,28.8,22.5), (52.2,23.4,52.7,23.9), (52.2,24.3,52.7,24.8), (52.5,24.8,52.7,29.6), (47.8,29.3,48.3,29.6), (47.8,29.6,52.7,29.8), (17,31.6,17.5,31.9), (19.5,31.6,20,31.9), (25.4,31.6,25.9,31.9), (27.8,31.6,28.3,31.9), (43.2,31.6,43.7,31.9), (17,31.9,43.7,32.1), (21.9,32.3,31.1,32.5), (41.7,32.3,43.7,32.5), (21.9,32.5,22.4,32.8), (30.6,32.5,31.1,32.8), (41.7,32.5,42.2,32.8)])
bias_generator.add(gdstk.Reference(sky130_fd_pr__nfet_01v8_, (47.78,28.605)))
bias_generator.add(gdstk.Reference(sky130_fd_pr__pfet_01v8_, (47.28,26.33)))
bias_generator.add(gdstk.Reference(c_sky130_fd_pr__pfet_01v8_, (36.48,27.12)))
bias_generator.add(gdstk.Reference(c_sky130_fd_pr__pfet_01v8_, (28.11,27.125)))
bias_generator.add(gdstk.Reference(c_sky130_fd_pr__pfet_01v8__, (19.71,27.12)))
bias_generator.add(gdstk.Reference(c_sky130_fd_pr__nfet_01v8_, (31.09,27.11)))
bias_generator.add(gdstk.Reference(c_sky130_fd_pr__nfet_01v8__, (22.68,27.095)))
bias_generator.add(gdstk.Reference(c_sky130_fd_pr__nfet_01v8___, (42.68,18.095)))
bias_generator.add(gdstk.Reference(c_sky130_fd_pr__nfet_01v8____, (45.23,20.395)))
bias_generator.add(gdstk.Reference(c_sky130_fd_pr__pfet_01v8___, (34.08,27.12)))
bias_generator.add(gdstk.Reference(c_sky130_fd_pr__pfet_01v8___, (25.68,27.12)))
bias_generator.add(gdstk.Reference(c_sky130_fd_pr__pfet_01v8____, (17.28,27.12)))
bias_generator.add(gdstk.Reference(c_sky130_fd_pr__pfet_01v8_, (41.275,27.12)))
bias_generator.add(gdstk.Reference(c_sky130_fd_pr__pfet_01v8___, (38.88,27.12)))
bias_generator.add(gdstk.Reference(c_sky130_fd_pr__nfet_01v8_____, (47.695,23.68), rotation=3*pi/2))
bias_generator.add(gdstk.Reference(c_sky130_fd_pr__nfet_01v8___, (42.68,15.795)))
bias_generator.add(gdstk.Reference(c_sky130_fd_pr__nfet_01v8___, (42.68,13.495)))
bias_generator.add(gdstk.Reference(c_sky130_fd_pr__nfet_01v8______, (34.27,16.995)))
bias_generator.add(gdstk.Reference(c_sky130_fd_pr__nfet_01v8______, (36.7,16.995)))
bias_generator.add(gdstk.Reference(c_sky130_fd_pr__nfet_01v8______, (29.41,16.995)))
bias_generator.add(gdstk.Reference(c_sky130_fd_pr__nfet_01v8______, (31.84,16.995)))
bias_generator.add(gdstk.Reference(c_sky130_fd_pr__nfet_01v8______, (19.69,16.995)))
bias_generator.add(gdstk.Reference(c_sky130_fd_pr__nfet_01v8______, (22.12,16.995)))
bias_generator.add(gdstk.Reference(c_sky130_fd_pr__nfet_01v8______, (24.55,16.995)))
bias_generator.add(gdstk.Reference(c_sky130_fd_pr__nfet_01v8______, (26.98,16.995)))
bias_generator.add(gdstk.Reference(c_sky130_fd_pr__nfet_01v8______, (17.26,16.995)))

lib.write_gds('bias_generator.gds')
